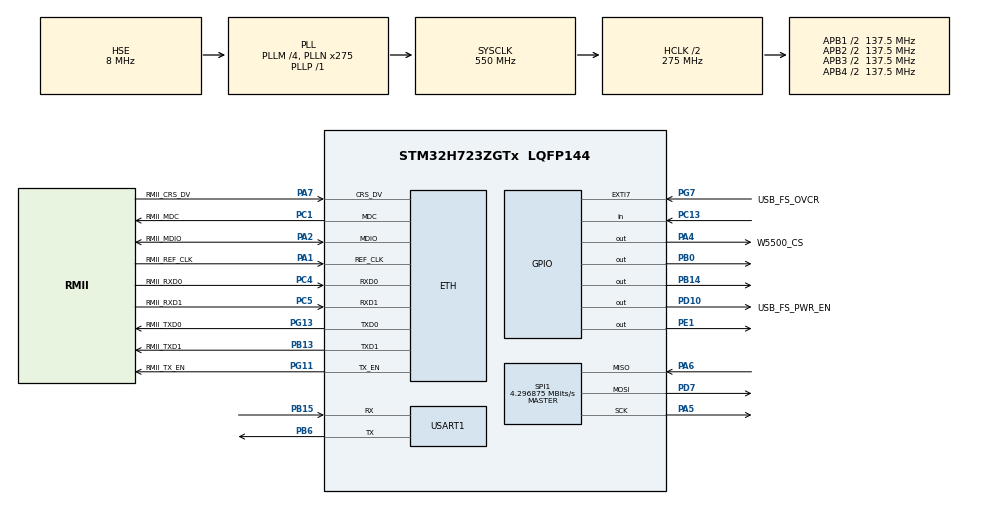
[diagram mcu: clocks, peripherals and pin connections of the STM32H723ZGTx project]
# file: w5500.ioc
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ETH.MediaInterface=HAL_ETH_RMII_MODE
Mcu.Family=STM32H7
Mcu.Name=STM32H723ZGTx
Mcu.Package=LQFP144
NUCLEO-H723ZG.BUTTON=1
NUCLEO-H723ZG.LD1=true
NUCLEO-H723ZG.LD2=true
NUCLEO-H723ZG.LD3=true
NUCLEO-H723ZG.VCP=true
NVIC.EXTI15_10_IRQn=true\:0\:0\:false\:false\:true\:false\:true\:true
NVIC.PriorityGroup=NVIC_PRIORITYGROUP_4
PA1.GPIO_Label=RMII_REF_CLK
PA1.Mode=RMII
PA1.Signal=ETH_REF_CLK
PA10.GPIO_Label=USB_FS_ID
PA10.Signal=USB_OTG_HS_ID
PA13(JTMS/SWDIO).GPIO_Label=SWDIO
PA13(JTMS/SWDIO).Mode=Trace_Asynchronous_SW
PA13(JTMS/SWDIO).Signal=DEBUG_JTMS-SWDIO
PA14(JTCK/SWCLK).GPIO_Label=SWCLK
PA14(JTCK/SWCLK).Mode=Trace_Asynchronous_SW
PA14(JTCK/SWCLK).Signal=DEBUG_JTCK-SWCLK
PA2.GPIO_Label=RMII_MDIO
PA2.Mode=RMII
PA2.Signal=ETH_MDIO
PA4.GPIO_Label=W5500_CS
PA4.Signal=GPIO_Output
PA5.Mode=Full_Duplex_Master
PA5.Signal=SPI1_SCK
PA6.Mode=Full_Duplex_Master
PA6.Signal=SPI1_MISO
PA7.GPIO_Label=RMII_CRS_DV
PA7.Mode=RMII
PA7.Signal=ETH_CRS_DV
PA9.GPIO_Label=USB_FS_VBUS
PA9.Signal=USB_OTG_HS_VBUS
PB0.Signal=GPIO_Output
PB13.GPIO_Label=RMII_TXD1
PB13.Mode=RMII
PB13.Signal=ETH_TXD1
PB14.Signal=GPIO_Output
PB15.Mode=Asynchronous
PB15.Signal=USART1_RX
PB3(JTDO/TRACESWO).GPIO_Label=SWO
PB3(JTDO/TRACESWO).Mode=Trace_Asynchronous_SW
PB3(JTDO/TRACESWO).Signal=DEBUG_JTDO-SWO
PB6.Mode=Asynchronous
PB6.Signal=USART1_TX
PC1.GPIO_Label=RMII_MDC
PC1.Mode=RMII
PC1.Signal=ETH_MDC
PC13.Signal=GPIO_Input
PC14-OSC32_IN.Mode=LSE-External-Oscillator
PC14-OSC32_IN.Signal=RCC_OSC32_IN
PC15-OSC32_OUT.Mode=LSE-External-Oscillator
PC15-OSC32_OUT.Signal=RCC_OSC32_OUT
PC4.GPIO_Label=RMII_RXD0
PC4.Mode=RMII
PC4.Signal=ETH_RXD0
PC5.GPIO_Label=RMII_RXD1
PC5.Mode=RMII
PC5.Signal=ETH_RXD1
PD10.GPIO_Label=USB_FS_PWR_EN
PD10.Signal=GPIO_Output
PD7.Mode=Full_Duplex_Master
PD7.Signal=SPI1_MOSI
PD8.Signal=USART3_TX
PD9.Signal=USART3_RX
PE1.Signal=GPIO_Output
PG11.GPIO_Label=RMII_TX_EN
PG11.Mode=RMII
PG11.Signal=ETH_TX_EN
PG13.GPIO_Label=RMII_TXD0
PG13.Mode=RMII
PG13.Signal=ETH_TXD0
PG7.GPIO_Label=USB_FS_OVCR
PG7.Signal=GPXTI7
PH0-OSC_IN.GPIO_Label=MCO
PH0-OSC_IN.Mode=HSE-External-Clock-Source
PH0-OSC_IN.Signal=RCC_OSC_IN
PH1-OSC_OUT.Signal=RCC_OSC_OUT
ProjectManager.HeapSize=0x200
ProjectManager.StackSize=0x400
ProjectManager.TargetToolchain=STM32CubeIDE
RCC.ADCFreq_Value=76000000
RCC.APB1Freq_Value=137500000
RCC.APB2Freq_Value=137500000
RCC.APB3Freq_Value=137500000
RCC.APB4Freq_Value=137500000
RCC.CortexFreq_Value=550000000
RCC.D1PPRE=RCC_APB3_DIV2
RCC.D2PPRE1=RCC_APB1_DIV2
RCC.D2PPRE2=RCC_APB2_DIV2
RCC.D3PPRE=RCC_APB4_DIV2
RCC.DIVM1=4
RCC.DIVM2=1
RCC.DIVN1=275
RCC.DIVN2=19
RCC.DIVP1=1
RCC.DIVQ1=4
RCC.HCLKFreq_Value=275000000
RCC.HPRE=RCC_HCLK_DIV2
RCC.HSE_VALUE=8000000
RCC.PLLFRACN=0
RCC.PLLSourceVirtual=RCC_PLLSOURCE_HSE
RCC.SYSCLKFreq_VALUE=550000000
RCC.SYSCLKSource=RCC_SYSCLKSOURCE_PLLCLK
RCC.USBCLockSelection=RCC_USBCLKSOURCE_HSI48
RCC.USBFreq_Value=48000000
SPI1.BaudRatePrescaler=SPI_BAUDRATEPRESCALER_32
SPI1.CalculateBaudRate=4.296875 MBits/s
SPI1.DataSize=SPI_DATASIZE_8BIT
SPI1.Direction=SPI_DIRECTION_2LINES
SPI1.Mode=SPI_MODE_MASTER
SPI1.VirtualType=VM_MASTER
USART1.VirtualMode-Asynchronous=VM_ASYNC
VP_MEMORYMAP_VS_MEMORYMAP.Mode=CurAppReg
VP_NUCLEO-H723ZG_VS_BSP_COMMON.Mode=COMMON
board=NUCLEO-H723ZG

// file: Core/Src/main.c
/* USER CODE BEGIN Header */
/**
  ******************************************************************************
  * @file           : main.c
  * @brief          : Main program body
  ******************************************************************************
  * @attention
  *
  * Copyright (c) 2026 STMicroelectronics.
  * All rights reserved.
  *
  * This software is licensed under terms that can be found in the LICENSE file
  * in the root directory of this software component.
  * If no LICENSE file comes with this software, it is provided AS-IS.
  *
  ******************************************************************************
  */
/* USER CODE END Header */
#include "main.h"
#include "string.h"

/* USER CODE BEGIN Includes */
#include <string.h>
#include <stdarg.h>
#include <stdbool.h>
#include <ctype.h>
#include "socket.h"
#include "dhcp.h"
#include "dns.h"
/* USER CODE END Includes */

#if defined ( __ICCARM__ ) /*!< IAR Compiler */
#pragma location=0x30000000
ETH_DMADescTypeDef  DMARxDscrTab[ETH_RX_DESC_CNT]; /* Ethernet Rx DMA Descriptors */
#pragma location=0x30000080
ETH_DMADescTypeDef  DMATxDscrTab[ETH_TX_DESC_CNT]; /* Ethernet Tx DMA Descriptors */

#elif defined ( __CC_ARM )  /* MDK ARM Compiler */

__attribute__((at(0x30000000))) ETH_DMADescTypeDef  DMARxDscrTab[ETH_RX_DESC_CNT]; /* Ethernet Rx DMA Descriptors */
__attribute__((at(0x30000080))) ETH_DMADescTypeDef  DMATxDscrTab[ETH_TX_DESC_CNT]; /* Ethernet Tx DMA Descriptors */

#elif defined ( __GNUC__ ) /* GNU Compiler */

ETH_DMADescTypeDef DMARxDscrTab[ETH_RX_DESC_CNT] __attribute__((section(".RxDescripSection"))); /* Ethernet Rx DMA Descriptors */
ETH_DMADescTypeDef DMATxDscrTab[ETH_TX_DESC_CNT] __attribute__((section(".TxDescripSection")));   /* Ethernet Tx DMA Descriptors */
#endif

ETH_TxPacketConfig TxConfig;

COM_InitTypeDef BspCOMInit;

ETH_HandleTypeDef heth;

SPI_HandleTypeDef hspi1;

UART_HandleTypeDef huart1;

void SystemClock_Config(void);
static void MX_GPIO_Init(void);
static void MX_ETH_Init(void);
static void MX_SPI1_Init(void);
static void MX_USART1_UART_Init(void);

/* USER CODE BEGIN 0 */

#define DHCP_SOCKET     0
#define DNS_SOCKET      1
#define HTTP_SOCKET     2
#define ECHO_SOCKET		3
#define ECHO_PORT   	8080
void UART_Printf(const char* fmt, ...) {
    char buff[256];
    va_list args;
    va_start(args, fmt);
    vsnprintf(buff, sizeof(buff), fmt, args);
    HAL_UART_Transmit(&huart1, (uint8_t*)buff, strlen(buff),
                      HAL_MAX_DELAY);
    va_end(args);
}

void W5500_Select(void) {
    HAL_GPIO_WritePin(W5500_CS_GPIO_Port, W5500_CS_Pin, GPIO_PIN_RESET);
}

void W5500_Unselect(void) {
    HAL_GPIO_WritePin(W5500_CS_GPIO_Port, W5500_CS_Pin, GPIO_PIN_SET);
}

void W5500_ReadBuff(uint8_t* buff, uint16_t len) {
    HAL_SPI_Receive(&hspi1, buff, len, HAL_MAX_DELAY);
}

void W5500_WriteBuff(uint8_t* buff, uint16_t len) {
    HAL_SPI_Transmit(&hspi1, buff, len, HAL_MAX_DELAY);
}

uint8_t W5500_ReadByte(void) {
    uint8_t byte;
    W5500_ReadBuff(&byte, sizeof(byte));
    return byte;
}

void W5500_WriteByte(uint8_t byte) {
    W5500_WriteBuff(&byte, sizeof(byte));
}

volatile bool ip_assigned = false;

void Callback_IPAssigned(void) {
    UART_Printf("Callback: IP assigned! Leased time: %d sec\r\n", getDHCPLeasetime());
    ip_assigned = true;
}

void Callback_IPConflict(void) {
    UART_Printf("Callback: IP conflict!\r\n");
}

void tcp_echo_server(void) {
    int32_t ret;
    uint8_t buf[256];

    // Create socket
    ret = socket(ECHO_SOCKET, Sn_MR_TCP, ECHO_PORT, 0);
    if(ret != ECHO_SOCKET) {
        UART_Printf("socket() failed, code = %d\r\n", ret);
        return;
    }

    // Listen for incoming connections
    ret = listen(ECHO_SOCKET);
    if(ret != SOCK_OK) {
        UART_Printf("listen() failed, code = %d\r\n", ret);
        close(ECHO_SOCKET);
        return;
    }

    UART_Printf("Echo server listening on port %d...\r\n", ECHO_PORT);

    while(1) {
        // Check socket status
        switch(getSn_SR(ECHO_SOCKET)) {
            case SOCK_ESTABLISHED:
                if(getSn_IR(ECHO_SOCKET) & Sn_IR_CON) {
                    UART_Printf("Client connected!\r\n");
                    setSn_IR(ECHO_SOCKET, Sn_IR_CON); // clear interrupt
                }

                // Receive data
                ret = recv(ECHO_SOCKET, buf, sizeof(buf));
                if(ret > 0) {
                    UART_Printf("Received %d bytes: %.*s\r\n", ret, ret, buf);
                    // Echo back
                    send(ECHO_SOCKET, buf, ret);
                }
                break;

            case SOCK_CLOSE_WAIT:
                UART_Printf("Client disconnected.\r\n");
                disconnect(ECHO_SOCKET);
                break;

            case SOCK_CLOSED:
                UART_Printf("Socket closed, reopening...\r\n");
                ret = socket(ECHO_SOCKET, Sn_MR_TCP, ECHO_PORT, 0);
                if(ret == ECHO_SOCKET) listen(ECHO_SOCKET);
                break;
        }

        HAL_Delay(10); // small delay to avoid busy loop
    }
}

// 1K should be enough, see https://forum.wiznet.io/t/topic/1612/2
uint8_t dhcp_buffer[1024];
// 1K seems to be enough for this buffer as well
uint8_t dns_buffer[1024];

void init() {
    UART_Printf("\r\ninit() called!\r\n");

    UART_Printf("Registering W5500 callbacks...\r\n");
    reg_wizchip_cs_cbfunc(W5500_Select, W5500_Unselect);
    reg_wizchip_spi_cbfunc(W5500_ReadByte, W5500_WriteByte);
    reg_wizchip_spiburst_cbfunc(W5500_ReadBuff, W5500_WriteBuff);

    UART_Printf("Calling wizchip_init()...\r\n");
    uint8_t rx_tx_buff_sizes[] = {2, 2, 2, 2, 2, 2, 2, 2};
    wizchip_init(rx_tx_buff_sizes, rx_tx_buff_sizes);

    wiz_NetInfo net_info = {
        .mac = {0x00,0x08,0xDC,0x11,0x22,0x33},   // unique MAC
        .ip  = {192,168,137,2},                   // static IP
        .sn  = {255,255,255,0},                   // subnet mask
        .gw  = {192,168,137,1},                     // gateway
        .dhcp = NETINFO_STATIC
    };

    wizchip_setnetinfo(&net_info);
    wiz_NetInfo current;
    wizchip_getnetinfo(&current);

    UART_Printf("IP:  %d.%d.%d.%d\r\nGW:  %d.%d.%d.%d\r\nNet: %d.%d.%d.%d\r\n",
        current.ip[0], current.ip[1], current.ip[2], current.ip[3],
        current.gw[0], current.gw[1], current.gw[2], current.gw[3],
        current.sn[0], current.sn[1], current.sn[2], current.sn[3]
    );
/*the following portion of the code did work=> but one socket at a time*/

//    UART_Printf("Creating socket...\r\n");
//    uint8_t echo_socket = HTTP_SOCKET;   // reuse the same socket number
//    uint8_t code = socket(echo_socket, Sn_MR_TCP, 10888, 0);
//    if(code != echo_socket) {
//        UART_Printf("socket() failed, code = %d\r\n", code);
//        return;
//    }
//
//    UART_Printf("Socket created, connecting...\r\n");
//    // Connect to your PC running Hercules/netcat echo server
//    uint8_t pc_ip[4] = {192,168,137,1};  // your PC’s IP
//    code = connect(echo_socket, pc_ip, 8080); // port where echo server is listening
//    if(code != SOCK_OK) {
//        UART_Printf("connect() failed, code = %d\r\n", code);
//        close(echo_socket);
//        return;
//    }
//
//    UART_Printf("Connected, sending test string...\r\n");
//    {
//        char msg[] = "Hello from W5500!\r\n";
//        int32_t nbytes = send(echo_socket, (uint8_t*)msg, strlen(msg));
//        if(nbytes <= 0) {
//            UART_Printf("send() failed, %d returned\r\n", nbytes);
//            close(echo_socket);
//            return;
//        }
//        UART_Printf("%d bytes sent!\r\n", nbytes);
//    }
//
//    UART_Printf("Waiting for echo...\r\n");
//    {
//        char buff[64];
//        int32_t nbytes = recv(echo_socket, (uint8_t*)buff, sizeof(buff)-1);
//        if(nbytes > 0) {
//            buff[nbytes] = '\0';
//            UART_Printf("Echo received: %s\r\n", buff);
//        } else {
//            UART_Printf("recv() failed, %d returned\r\n", nbytes);
//        }
//    }
//
//    UART_Printf("Closing socket.\r\n");
//    close(echo_socket);
    tcp_echo_server();

}

void loop() {
    HAL_Delay(1000);
}
/* USER CODE END 0 */

int main(void)
{

  /* MCU Configuration--------------------------------------------------------*/

  /* Reset of all peripherals, Initializes the Flash interface and the Systick. */
  HAL_Init();

  /* Configure the system clock */
  SystemClock_Config();

  /* Initialize all configured peripherals */
  MX_GPIO_Init();
  MX_ETH_Init();
  MX_SPI1_Init();
  MX_USART1_UART_Init();

  /* Initialize leds */
  BSP_LED_Init(LED_GREEN);
  BSP_LED_Init(LED_YELLOW);
  BSP_LED_Init(LED_RED);

  /* Initialize USER push-button, will be used to trigger an interrupt each time it's pressed.*/
  BSP_PB_Init(BUTTON_USER, BUTTON_MODE_EXTI);

  /* Initialize COM1 port (115200, 8 bits (7-bit data + 1 stop bit), no parity */
  BspCOMInit.BaudRate   = 115200;
  BspCOMInit.WordLength = COM_WORDLENGTH_8B;
  BspCOMInit.StopBits   = COM_STOPBITS_1;
  BspCOMInit.Parity     = COM_PARITY_NONE;
  BspCOMInit.HwFlowCtl  = COM_HWCONTROL_NONE;
  if (BSP_COM_Init(COM1, &BspCOMInit) != BSP_ERROR_NONE)
  {
    Error_Handler();
  }

  /* Infinite loop */
  init();
  while (1)
  {

    /* USER CODE BEGIN 3 */
	    loop();
  }
  /* USER CODE END 3 */
}

void SystemClock_Config(void)
{
  RCC_OscInitTypeDef RCC_OscInitStruct = {0};
  RCC_ClkInitTypeDef RCC_ClkInitStruct = {0};

  /** Supply configuration update enable
  */
  HAL_PWREx_ConfigSupply(PWR_LDO_SUPPLY);

  /** Configure the main internal regulator output voltage
  */
  __HAL_PWR_VOLTAGESCALING_CONFIG(PWR_REGULATOR_VOLTAGE_SCALE0);

  while(!__HAL_PWR_GET_FLAG(PWR_FLAG_VOSRDY)) {}

  /** Initializes the RCC Oscillators according to the specified parameters
  * in the RCC_OscInitTypeDef structure.
  */
  RCC_OscInitStruct.OscillatorType = RCC_OSCILLATORTYPE_HSE;
  RCC_OscInitStruct.HSEState = RCC_HSE_BYPASS;
  RCC_OscInitStruct.PLL.PLLState = RCC_PLL_ON;
  RCC_OscInitStruct.PLL.PLLSource = RCC_PLLSOURCE_HSE;
  RCC_OscInitStruct.PLL.PLLM = 4;
  RCC_OscInitStruct.PLL.PLLN = 275;
  RCC_OscInitStruct.PLL.PLLP = 1;
  RCC_OscInitStruct.PLL.PLLQ = 4;
  RCC_OscInitStruct.PLL.PLLR = 2;
  RCC_OscInitStruct.PLL.PLLRGE = RCC_PLL1VCIRANGE_1;
  RCC_OscInitStruct.PLL.PLLVCOSEL = RCC_PLL1VCOWIDE;
  RCC_OscInitStruct.PLL.PLLFRACN = 0;
  if (HAL_RCC_OscConfig(&RCC_OscInitStruct) != HAL_OK)
  {
    Error_Handler();
  }

  /** Initializes the CPU, AHB and APB buses clocks
  */
  RCC_ClkInitStruct.ClockType = RCC_CLOCKTYPE_HCLK|RCC_CLOCKTYPE_SYSCLK
                              |RCC_CLOCKTYPE_PCLK1|RCC_CLOCKTYPE_PCLK2
                              |RCC_CLOCKTYPE_D3PCLK1|RCC_CLOCKTYPE_D1PCLK1;
  RCC_ClkInitStruct.SYSCLKSource = RCC_SYSCLKSOURCE_PLLCLK;
  RCC_ClkInitStruct.SYSCLKDivider = RCC_SYSCLK_DIV1;
  RCC_ClkInitStruct.AHBCLKDivider = RCC_HCLK_DIV2;
  RCC_ClkInitStruct.APB3CLKDivider = RCC_APB3_DIV2;
  RCC_ClkInitStruct.APB1CLKDivider = RCC_APB1_DIV2;
  RCC_ClkInitStruct.APB2CLKDivider = RCC_APB2_DIV2;
  RCC_ClkInitStruct.APB4CLKDivider = RCC_APB4_DIV2;

  if (HAL_RCC_ClockConfig(&RCC_ClkInitStruct, FLASH_LATENCY_3) != HAL_OK)
  {
    Error_Handler();
  }
}

static void MX_ETH_Init(void)
{

   static uint8_t MACAddr[6];

  heth.Instance = ETH;
  MACAddr[0] = 0x00;
  MACAddr[1] = 0x80;
  MACAddr[2] = 0xE1;
  MACAddr[3] = 0x00;
  MACAddr[4] = 0x00;
  MACAddr[5] = 0x00;
  heth.Init.MACAddr = &MACAddr[0];
  heth.Init.MediaInterface = HAL_ETH_RMII_MODE;
  heth.Init.TxDesc = DMATxDscrTab;
  heth.Init.RxDesc = DMARxDscrTab;
  heth.Init.RxBuffLen = 1536;

  if (HAL_ETH_Init(&heth) != HAL_OK)
  {
    Error_Handler();
  }

  memset(&TxConfig, 0 , sizeof(ETH_TxPacketConfig));
  TxConfig.Attributes = ETH_TX_PACKETS_FEATURES_CSUM | ETH_TX_PACKETS_FEATURES_CRCPAD;
  TxConfig.ChecksumCtrl = ETH_CHECKSUM_IPHDR_PAYLOAD_INSERT_PHDR_CALC;
  TxConfig.CRCPadCtrl = ETH_CRC_PAD_INSERT;

}

static void MX_SPI1_Init(void)
{

  /* SPI1 parameter configuration*/
  hspi1.Instance = SPI1;
  hspi1.Init.Mode = SPI_MODE_MASTER;
  hspi1.Init.Direction = SPI_DIRECTION_2LINES;
  hspi1.Init.DataSize = SPI_DATASIZE_8BIT;
  hspi1.Init.CLKPolarity = SPI_POLARITY_LOW;
  hspi1.Init.CLKPhase = SPI_PHASE_1EDGE;
  hspi1.Init.NSS = SPI_NSS_SOFT;
  hspi1.Init.BaudRatePrescaler = SPI_BAUDRATEPRESCALER_32;
  hspi1.Init.FirstBit = SPI_FIRSTBIT_MSB;
  hspi1.Init.TIMode = SPI_TIMODE_DISABLE;
  hspi1.Init.CRCCalculation = SPI_CRCCALCULATION_DISABLE;
  hspi1.Init.CRCPolynomial = 0x0;
  hspi1.Init.NSSPMode = SPI_NSS_PULSE_ENABLE;
  hspi1.Init.NSSPolarity = SPI_NSS_POLARITY_LOW;
  hspi1.Init.FifoThreshold = SPI_FIFO_THRESHOLD_01DATA;
  hspi1.Init.TxCRCInitializationPattern = SPI_CRC_INITIALIZATION_ALL_ZERO_PATTERN;
  hspi1.Init.RxCRCInitializationPattern = SPI_CRC_INITIALIZATION_ALL_ZERO_PATTERN;
  hspi1.Init.MasterSSIdleness = SPI_MASTER_SS_IDLENESS_00CYCLE;
  hspi1.Init.MasterInterDataIdleness = SPI_MASTER_INTERDATA_IDLENESS_00CYCLE;
  hspi1.Init.MasterReceiverAutoSusp = SPI_MASTER_RX_AUTOSUSP_DISABLE;
  hspi1.Init.MasterKeepIOState = SPI_MASTER_KEEP_IO_STATE_DISABLE;
  hspi1.Init.IOSwap = SPI_IO_SWAP_DISABLE;
  if (HAL_SPI_Init(&hspi1) != HAL_OK)
  {
    Error_Handler();
  }

}

static void MX_USART1_UART_Init(void)
{

  huart1.Instance = USART1;
  huart1.Init.BaudRate = 115200;
  huart1.Init.WordLength = UART_WORDLENGTH_8B;
  huart1.Init.StopBits = UART_STOPBITS_1;
  huart1.Init.Parity = UART_PARITY_NONE;
  huart1.Init.Mode = UART_MODE_TX_RX;
  huart1.Init.HwFlowCtl = UART_HWCONTROL_NONE;
  huart1.Init.OverSampling = UART_OVERSAMPLING_16;
  huart1.Init.OneBitSampling = UART_ONE_BIT_SAMPLE_DISABLE;
  huart1.Init.ClockPrescaler = UART_PRESCALER_DIV1;
  huart1.AdvancedInit.AdvFeatureInit = UART_ADVFEATURE_NO_INIT;
  if (HAL_UART_Init(&huart1) != HAL_OK)
  {
    Error_Handler();
  }
  if (HAL_UARTEx_SetTxFifoThreshold(&huart1, UART_TXFIFO_THRESHOLD_1_8) != HAL_OK)
  {
    Error_Handler();
  }
  if (HAL_UARTEx_SetRxFifoThreshold(&huart1, UART_RXFIFO_THRESHOLD_1_8) != HAL_OK)
  {
    Error_Handler();
  }
  if (HAL_UARTEx_DisableFifoMode(&huart1) != HAL_OK)
  {
    Error_Handler();
  }

}

static void MX_GPIO_Init(void)
{
  GPIO_InitTypeDef GPIO_InitStruct = {0};

  /* GPIO Ports Clock Enable */
  __HAL_RCC_GPIOC_CLK_ENABLE();
  __HAL_RCC_GPIOH_CLK_ENABLE();
  __HAL_RCC_GPIOA_CLK_ENABLE();
  __HAL_RCC_GPIOB_CLK_ENABLE();
  __HAL_RCC_GPIOD_CLK_ENABLE();
  __HAL_RCC_GPIOG_CLK_ENABLE();

  /*Configure GPIO pin Output Level */
  HAL_GPIO_WritePin(W5500_CS_GPIO_Port, W5500_CS_Pin, GPIO_PIN_RESET);

  /*Configure GPIO pin Output Level */
  HAL_GPIO_WritePin(USB_FS_PWR_EN_GPIO_Port, USB_FS_PWR_EN_Pin, GPIO_PIN_RESET);

  /*Configure GPIO pin : W5500_CS_Pin */
  GPIO_InitStruct.Pin = W5500_CS_Pin;
  GPIO_InitStruct.Mode = GPIO_MODE_OUTPUT_PP;
  GPIO_InitStruct.Pull = GPIO_NOPULL;
  GPIO_InitStruct.Speed = GPIO_SPEED_FREQ_LOW;
  HAL_GPIO_Init(W5500_CS_GPIO_Port, &GPIO_InitStruct);

  /*Configure GPIO pin : USB_FS_PWR_EN_Pin */
  GPIO_InitStruct.Pin = USB_FS_PWR_EN_Pin;
  GPIO_InitStruct.Mode = GPIO_MODE_OUTPUT_PP;
  GPIO_InitStruct.Pull = GPIO_NOPULL;
  GPIO_InitStruct.Speed = GPIO_SPEED_FREQ_LOW;
  HAL_GPIO_Init(USB_FS_PWR_EN_GPIO_Port, &GPIO_InitStruct);

  /*Configure GPIO pin : USB_FS_OVCR_Pin */
  GPIO_InitStruct.Pin = USB_FS_OVCR_Pin;
  GPIO_InitStruct.Mode = GPIO_MODE_IT_RISING;
  GPIO_InitStruct.Pull = GPIO_NOPULL;
  HAL_GPIO_Init(USB_FS_OVCR_GPIO_Port, &GPIO_InitStruct);

  /*Configure GPIO pin : USB_FS_ID_Pin */
  GPIO_InitStruct.Pin = USB_FS_ID_Pin;
  GPIO_InitStruct.Mode = GPIO_MODE_AF_PP;
  GPIO_InitStruct.Pull = GPIO_NOPULL;
  GPIO_InitStruct.Speed = GPIO_SPEED_FREQ_LOW;
  GPIO_InitStruct.Alternate = GPIO_AF10_OTG1_HS;
  HAL_GPIO_Init(USB_FS_ID_GPIO_Port, &GPIO_InitStruct);

}

void Error_Handler(void)
{
  __disable_irq();
  while (1)
  {
  }
}
